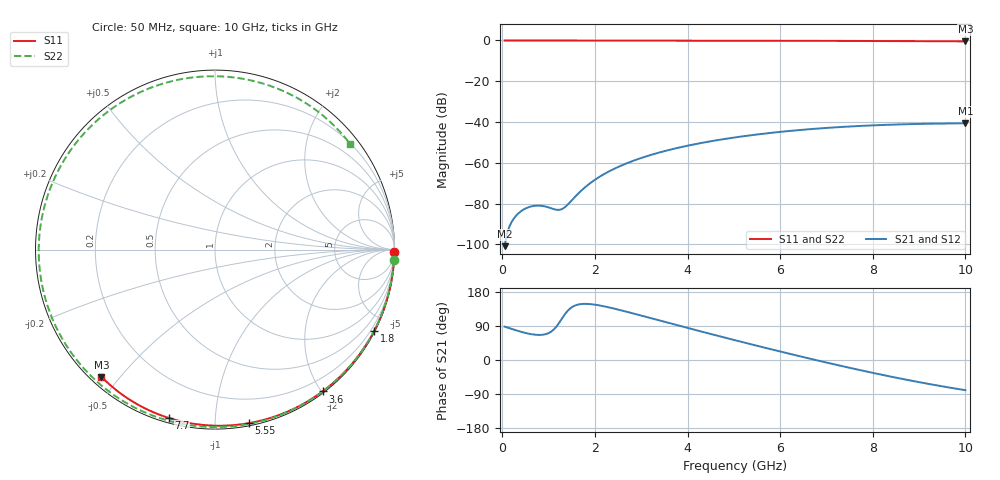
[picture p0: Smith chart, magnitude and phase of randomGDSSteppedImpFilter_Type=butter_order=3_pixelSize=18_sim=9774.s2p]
! freq	dB(S11)	phase(S11)	dB(S12)	phase(S12)
!  dB(S21)	phase(S21)	dB(S22)	phase(S22)
!S-par simulation data
#  GHz  S  DB  R 50
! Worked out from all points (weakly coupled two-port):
!   200 points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, 50 MHz to 10 GHz, reference 50 ohm
!   highest |S21| = -40.66 dB at 10 GHz (marker M1); lowest = -100.9 dB at 50 MHz (marker M2)
!   lowest |S11| = -0.4 dB at 10 GHz (marker M3), VSWR 39.06, Z = 1.54 - j22.4 ohm
!   |S11| at or under -10 dB: nowhere
!   |S22| runs from -0.4 to 0.0 dB; largest |S21 - S12| = 0
!   S11 on the Smith chart (normalised r, x): 50 MHz: open; 1.8 GHz: 0.04, -4.16; 3.6 GHz: 0.02, -2.01; 5.55 GHz: 0.02, -1.22; 7.7 GHz: 0.02, -0.76; 10 GHz: 0.03, -0.45
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0.05  -0.00 -0.8  -100.91 88.0  -100.91 88.0  -0.00 -3.3
0.25  -0.00 -3.8  -87.30 80.2  -87.30 80.2  -0.02 -16.5
0.45  -0.01 -6.8  -83.07 72.9  -83.07 72.9  -0.04 -29.3
0.7  -0.01 -10.6  -81.11 66.9  -81.11 66.9  -0.06 -44.9
0.9  -0.02 -13.6  -81.31 67.2  -81.31 67.2  -0.07 -56.7
1.15  -0.02 -17.4  -82.95 85.4  -82.95 85.4  -0.08 -70.6
1.45  -0.03 -21.8  -79.65 134.4  -79.65 134.4  -0.09 -86.0
1.75  -0.03 -26.3  -72.75 148.1  -72.75 148.1  -0.10 -100.0
1.8  -0.03 -27.0  -71.78 148.2  -71.78 148.2  -0.10 -102.2
2.1  -0.04 -31.4  -66.87 144.0  -66.87 144.0  -0.11 -114.8
2.45  -0.05 -36.5  -62.59 134.6  -62.59 134.6  -0.12 -128.0
2.9  -0.06 -43.0  -58.43 120.5  -58.43 120.5  -0.12 -143.3
3.4  -0.07 -50.0  -54.90 104.2  -54.90 104.2  -0.14 -158.5
3.6  -0.07 -52.8  -53.72 97.7  -53.72 97.7  -0.14 -164.2
4.3  -0.09 -62.4  -50.27 75.1  -50.27 75.1  -0.16 177.3
5.05  -0.11 -72.4  -47.48 51.4  -47.48 51.4  -0.18 158.9
5.55  -0.13 -78.9  -45.98 36.0  -45.98 36.0  -0.20 147.1
6.7  -0.18 -93.3  -43.41 1.9  -43.41 1.9  -0.25 120.3
7.7  -0.24 -105.3  -41.96 -26.0  -41.96 -26.0  -0.29 96.5
8.35  -0.29 -112.9  -41.34 -42.9  -41.34 -42.9  -0.32 80.6
9.15  -0.36 -122.1  -40.87 -61.9  -40.87 -61.9  -0.35 60.3
10  -0.44 -131.7  -40.66 -79.6  -40.66 -79.6  -0.39 38.1
